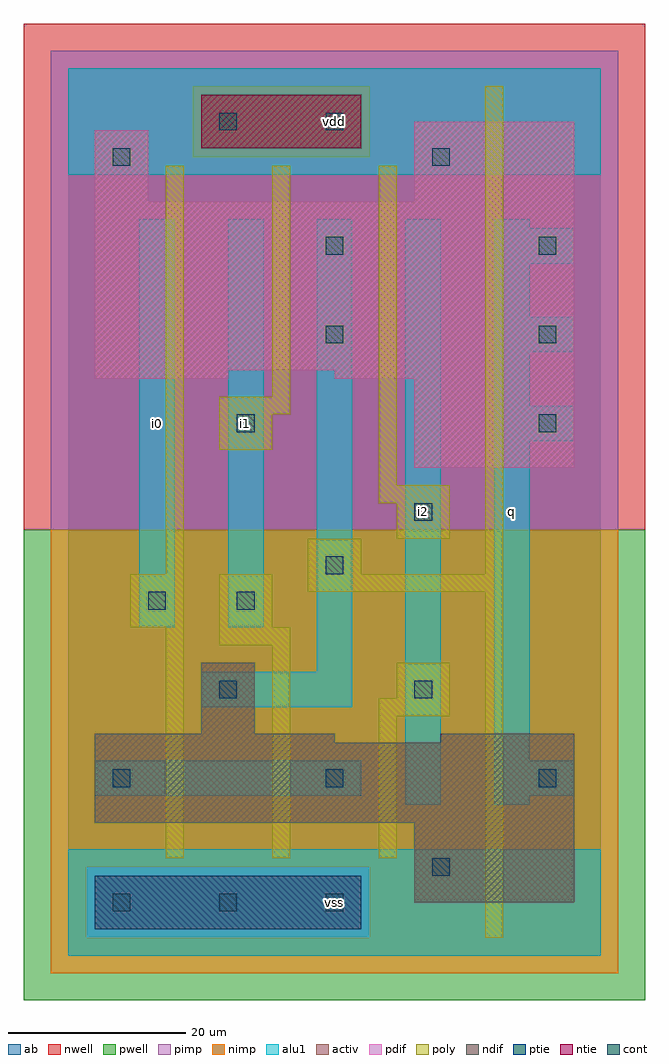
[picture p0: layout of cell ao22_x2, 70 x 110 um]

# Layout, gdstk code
import gdstk
lib = gdstk.Library(unit=1e-6, precision=1e-09)
def R(c, l, rs):  # rectangles x0, y0, x1, y1
    for r in rs: c.add(gdstk.rectangle(r[:2], r[2:], *l))
def A(c, l, x, y, w, h, nx, ny, dx, dy):  # array of equal rectangles
    R(c, l, [(x+i*dx, y+j*dy, x+i*dx+w, y+j*dy+h) for i in range(nx) for j in range(ny)])
ndif = (3, 0)
pdif = (4, 0)
ntie = (5, 0)
ptie = (6, 0)
cont = (25, 0)
pwell = (41, 0)
nwell = (42, 0)
activ = (43, 0)
pimp = (44, 0)
nimp = (45, 0)
poly = (46, 0)
alu1 = (49, 0)
ab = (63, 0)

ao22_x2 = lib.new_cell('ao22_x2')
R(ao22_x2, ndif, [(39,6,57,15), (3,15,57,24), (3,24,30,25), (42,24,57,25), (15,25,21,33)])
R(ao22_x2, pdif, [(39,55,57,65), (3,65,18,66), (30,65,57,66), (3,66,57,85), (3,85,9,93), (39,85,57,94)])
R(ao22_x2, ntie, [(15,91,33,97)])
R(ao22_x2, ptie, [(3,3,33,9)])
A(ao22_x2, cont, 5, 5, 2, 2, 3, 1, 12, 0)
A(ao22_x2, cont, 5, 19, 2, 2, 3, 1, 24, 0)
A(ao22_x2, cont, 53, 59, 2, 2, 1, 3, 0, 10)
R(ao22_x2, cont, [(41,9,43,11), (17,29,19,31), (39,29,41,31), (9,39,11,41), (19,39,21,41), (29,43,31,45), (39,49,41,51), (19,59,21,61), (29,69,31,71), (29,79,31,81), (5,89,7,91), (41,89,43,91), (17,93,19,95), (29,93,31,95)])
R(ao22_x2, pwell, [(-5,-5,65,48)])
R(ao22_x2, nwell, [(-5,48,65,105)])
R(ao22_x2, activ, [(3,3,33,9), (39,6,57,15), (3,15,57,24), (3,24,30,25), (42,24,57,25), (15,25,21,33), (39,55,57,65), (3,65,18,66), (30,65,57,66), (3,66,57,85), (3,85,9,93), (39,85,57,94), (15,91,33,97)])
R(ao22_x2, pimp, [(2,2,34,10), (-2,48,62,90), (-2,90,14,98), (34,90,62,98), (-2,98,62,102)])
R(ao22_x2, nimp, [(-2,-2,62,2), (-2,2,2,10), (34,2,62,10), (-2,10,62,48), (14,90,34,98)])
R(ao22_x2, poly, [(47,2,49,41), (11,11,13,37), (23,11,25,35), (35,11,37,27), (35,27,43,29), (37,29,43,33), (17,35,25,37), (7,37,13,43), (17,37,23,43), (27,41,49,43), (11,43,13,89), (27,43,33,47), (47,43,49,98), (37,47,43,51), (35,51,43,53), (35,53,37,89), (17,57,23,61), (17,61,25,63), (23,63,25,89)])
A(ao22_x2, alu1, 48, 58, 9, 4, 1, 3, 0, 10)
R(ao22_x2, alu1, [(0,0,60,12), (38,17,42,83), (48,17,52,18), (3,18,33,22), (48,18,57,22), (48,22,52,58), (15,28,32,32), (28,32,32,83), (8,37,12,83), (18,37,22,83), (48,62,52,68), (48,72,52,78), (48,82,52,83), (0,88,60,100)])
R(ao22_x2, ab, [(0,0,60,100)])
ao22_x2.add(gdstk.Label('i0', (10,60), layer=49, texttype=0))
ao22_x2.add(gdstk.Label('i1', (20,60), layer=49, texttype=0))
ao22_x2.add(gdstk.Label('vss', (30,6), layer=49, texttype=0))
ao22_x2.add(gdstk.Label('i2', (40,50), layer=49, texttype=0))
ao22_x2.add(gdstk.Label('vdd', (30,94), layer=49, texttype=0))
ao22_x2.add(gdstk.Label('q', (50,50), layer=49, texttype=0))

lib.write_gds('ao22_x2.gds')
